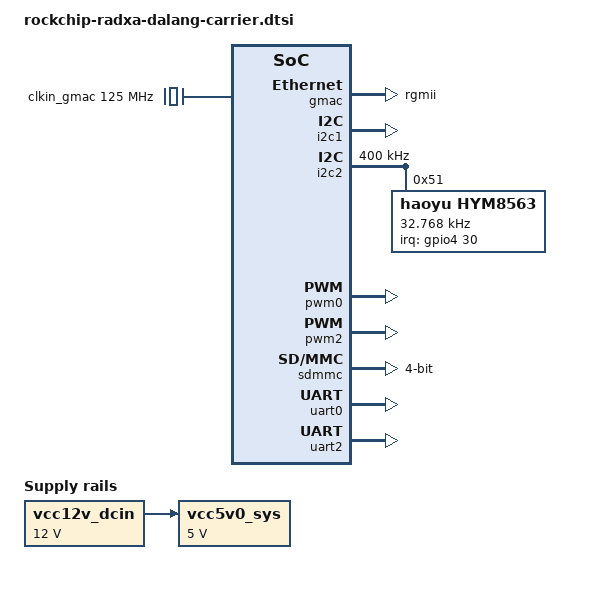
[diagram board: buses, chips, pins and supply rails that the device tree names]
// SPDX-License-Identifier: (GPL-2.0+ OR MIT)
/*
 * Copyright (c) 2019 Fuzhou Rockchip Electronics Co., Ltd
 * Copyright (c) 2019 Radxa Limited
 * Copyright (c) 2019 Amarula Solutions(India)
 */

#include <dt-bindings/pwm/pwm.h>

/ {
	clkin_gmac: external-gmac-clock {
		compatible = "fixed-clock";
		clock-frequency = <125000000>;
		clock-output-names = "clkin_gmac";
		#clock-cells = <0>;
	};

	vcc12v_dcin: vcc12v-dcin-regulator {
		compatible = "regulator-fixed";
		regulator-name = "vcc12v_dcin";
		regulator-always-on;
		regulator-boot-on;
		regulator-min-microvolt = <12000000>;
		regulator-max-microvolt = <12000000>;
	};

	vcc5v0_sys: vcc5v0-sys-regulator {
		compatible = "regulator-fixed";
		regulator-name = "vcc5v0_sys";
		regulator-always-on;
		regulator-boot-on;
		regulator-min-microvolt = <5000000>;
		regulator-max-microvolt = <5000000>;
		vin-supply = <&vcc12v_dcin>;
	};
};

&gmac {
	assigned-clock-parents = <&clkin_gmac>;
	clock_in_out = "input";
	phy-mode = "rgmii";
	pinctrl-names = "default";
	pinctrl-0 = <&rgmii_pins>;
	snps,reset-active-low;
	snps,reset-delays-us = <0 10000 50000>;
	tx_delay = <0x28>;
	rx_delay = <0x11>;
	status = "okay";
};

&i2c1 {
	i2c-scl-rising-time-ns = <140>;
	i2c-scl-falling-time-ns = <30>;
	status = "okay";
};

&i2c2 {
	clock-frequency = <400000>;
	status = "okay";

	hym8563: hym8563@51 {
		compatible = "haoyu,hym8563";
		reg = <0x51>;
		#clock-cells = <0>;
		clock-frequency = <32768>;
		clock-output-names = "hym8563";
		pinctrl-names = "default";
		pinctrl-0 = <&hym8563_int>;
		interrupt-parent = <&gpio4>;
		interrupts = <30 IRQ_TYPE_LEVEL_LOW>;
	};
};

&pinctrl {
	hym8563 {
		hym8563_int: hym8563-int {
			rockchip,pins = <4 RK_PD6 0 &pcfg_pull_up>;
		};
	};
};

&pwm0 {
	status = "okay";
};

&pwm2 {
	status = "okay";
};

&sdmmc {
	bus-width = <4>;
	cap-mmc-highspeed;
	cap-sd-highspeed;
	disable-wp;
	vqmmc-supply = <&vccio_sd>;
	pinctrl-names = "default";
	pinctrl-0 = <&sdmmc_clk &sdmmc_cmd &sdmmc_cd &sdmmc_bus4>;
	status = "okay";
};

&uart0 {
	pinctrl-names = "default";
	pinctrl-0 = <&uart0_xfer &uart0_cts>;
	status = "okay";
};

&uart2 {
	status = "okay";
};
